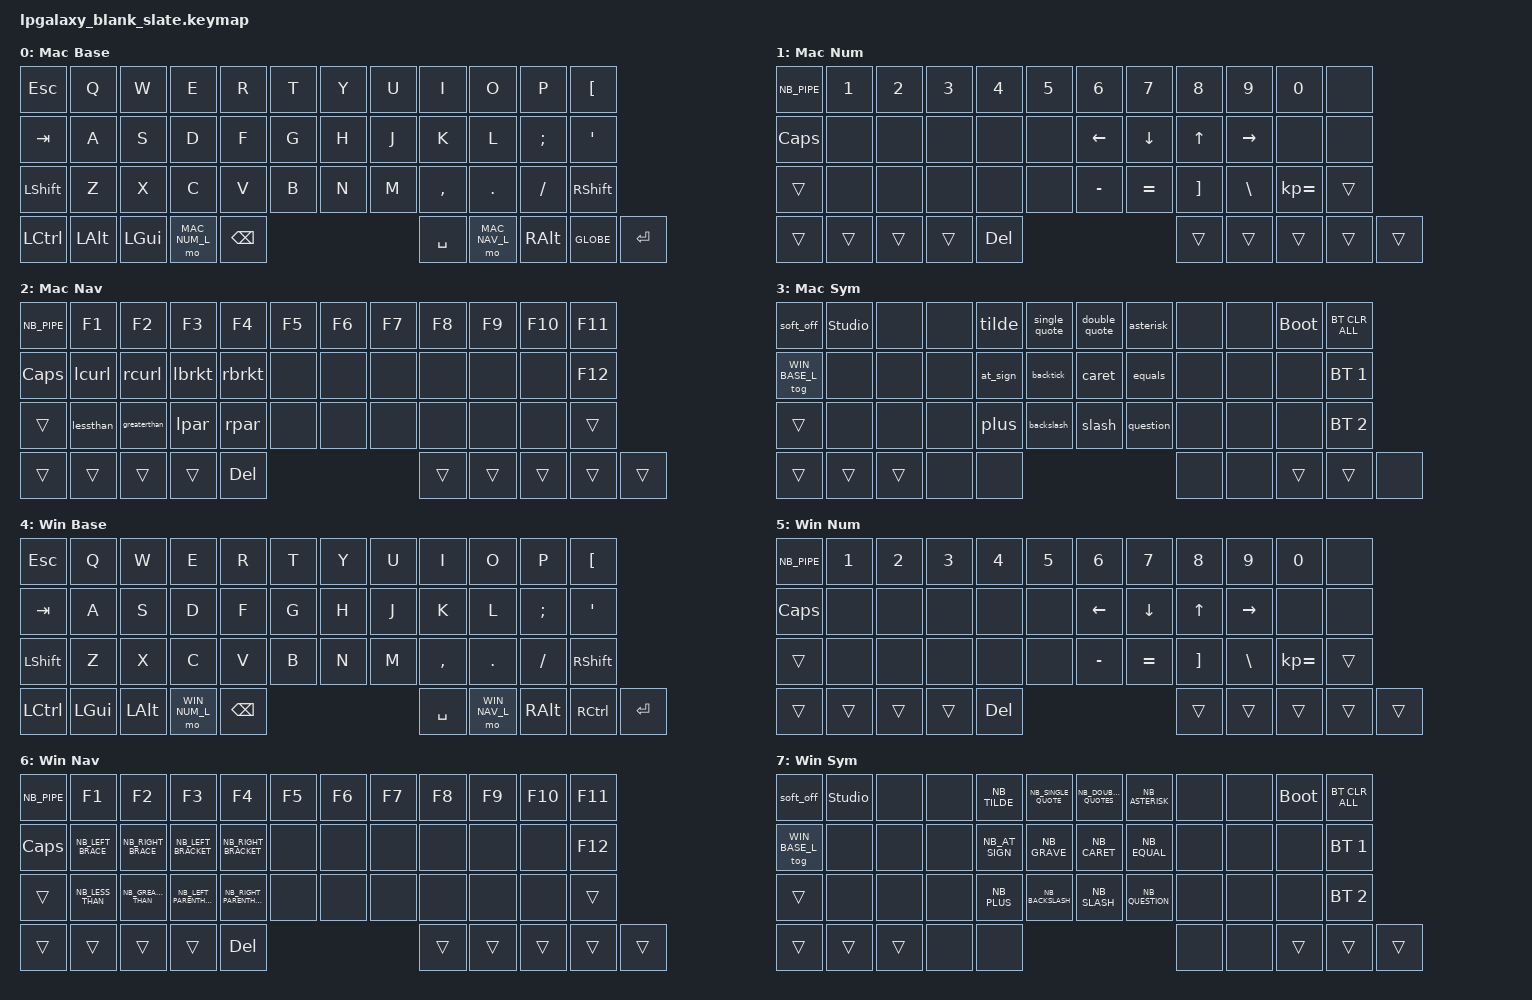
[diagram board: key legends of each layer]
/*
 * Copyright (c) 2022 Pete Johanson
 *
 * SPDX-License-Identifier: MIT
 */

#include <behaviors.dtsi>
#include <dt-bindings/zmk/keys.h>
#include <dt-bindings/zmk/bt.h>
#include <dt-bindings/zmk/outputs.h>
#include "keys_nb.h"

#define QWERTY_BASE 1

// #define TBLE_ORTHO   1
// #define TBLE_MIT     1
#define TBLE_DUAL_2U 1

#define MAC_BASE_L 0
#define MAC_NUM_L 1
#define MAC_NAV_L 2
#define MAC_SYM_L 3


#define WIN_BASE_L 4
#define WIN_NUM_L 5
#define WIN_NAV_L 6
#define WIN_SYM_L 7

// Using layer taps on thumbs, having quick tap as well helps w/ repeating space/backspace
// &lt { quick_tap_ms = <200>; };

#define BT(n) BT_SEL n

/ {
  chosen {
    zmk,physical-layout =
    #ifdef TBLE_DUAL_2U
      &layout_ortho_4x12_2x2u;
    #elif defined(TBLE_MIT)
      &layout_ortho_4x12_1x2u;
    #else
      &layout_ortho_4x12_all1u;
    #endif
  };

  macros {

    lbrkt: lbrkt {
      compatible = "zmk,behavior-macro";
      #binding-cells = <0>;
      bindings = <
        &macro_press &kp RALT
        &macro_tap &kp N8
        &macro_release &kp RALT
      >;
    };

    rbrkt: rbrkt {
      compatible = "zmk,behavior-macro";
      #binding-cells = <0>;
      bindings = <
        &macro_press &kp RALT
        &macro_tap &kp N9
        &macro_release &kp RALT
      >;
    };

    lessthan: lessthan {
      compatible = "zmk,behavior-macro";
      #binding-cells = <0>;
      bindings = <
        &kp GRAVE
      >;
    };

    greaterthan: greaterthan {
      compatible = "zmk,behavior-macro";
      #binding-cells = <0>;
      bindings = <
        &macro_press &kp LSHFT
        &macro_tap &kp GRAVE
        &macro_release &kp LSHFT
      >;
    };

    lcurl: lcurl {
      compatible = "zmk,behavior-macro";
      #binding-cells = <0>;
      bindings = <
        &macro_press &kp RALT
        &macro_press &kp LSHFT
        &macro_tap &kp N8
        &macro_release &kp LSHFT
        &macro_release &kp RALT
      >;
    };

    rcurl: rcurl {
      compatible = "zmk,behavior-macro";
      #binding-cells = <0>;
      bindings = <
        &macro_press &kp RALT
        &macro_press &kp LSHFT
        &macro_tap &kp N9
        &macro_release &kp LSHFT
        &macro_release &kp RALT
      >;
    };

    lpar: lpar {
      compatible = "zmk,behavior-macro";
      #binding-cells = <0>;
      bindings = <
        &macro_press &kp LSHFT
        &macro_tap &kp N8
        &macro_release &kp LSHFT
      >;
    };

    rpar: rpar {
      compatible = "zmk,behavior-macro";
      #binding-cells = <0>;
      bindings = <
        &macro_press &kp LSHFT
        &macro_tap &kp N9
        &macro_release &kp LSHFT
      >;
    };

    //TODO: remove
    pipe: pipe {
      compatible = "zmk,behavior-macro";
      #binding-cells = <0>;
      bindings = <
        &macro_press &kp RALT
        &macro_tap &kp N7
        &macro_release &kp RALT
      >;
    };

    single_quote: single_quote {
      compatible = "zmk,behavior-macro";
      #binding-cells = <0>;
      bindings = <
        &macro_press &kp RALT
        &macro_tap &kp BSLH
        &macro_release &kp RALT
      >;
    };

    plus: plus {
      compatible = "zmk,behavior-macro";
      #binding-cells = <0>;
      bindings = <
        &macro_tap &kp MINUS
      >;
    };

    at_sign: at_sign {
      compatible = "zmk,behavior-macro";
      #binding-cells = <0>;
      bindings = <
        &macro_tap &kp BSLH
      >;
    };

    asterisk: asterisk {
      compatible = "zmk,behavior-macro";
      #binding-cells = <0>;
      bindings = <
        &macro_press &kp LSHFT
        &macro_tap &kp BSLH
        &macro_release &kp LSHFT
      >;
    };

    double_quote: double_quote {
      compatible = "zmk,behavior-macro";
      #binding-cells = <0>;
      bindings = <
        &macro_tap &kp AT_SIGN
      >;
    };

    caret: caret {
      compatible = "zmk,behavior-macro";
      #binding-cells = <0>;
      bindings = <
        &macro_press &kp LSHFT
        &macro_tap &kp RBKT
        &macro_release &kp LSHFT
      >;
    };

    tilde: tilde {
      compatible = "zmk,behavior-macro";
      #binding-cells = <0>;
      bindings = <
        &macro_press &kp RALT
        &macro_tap &kp RBKT
        &macro_release &kp RALT
      >;
    };

    equals: equals {
      compatible = "zmk,behavior-macro";
      #binding-cells = <0>;
      bindings = <
        &macro_press &kp LSHFT
        &macro_tap &kp N0
        &macro_release &kp LSHFT
      >;
    };

    backtick: backtick {
      compatible = "zmk,behavior-macro";
      #binding-cells = <0>;
      bindings = <
        &macro_tap &kp PLUS
      >;
    };

    backslash: backslash {
      compatible = "zmk,behavior-macro";
      #binding-cells = <0>;
      bindings = <
        &macro_press &kp RALT
        &macro_press &kp LSHFT
        &macro_tap &kp N7
        &macro_release &kp LSHFT
        &macro_release &kp RALT
      >;
    };

    slash: slash {
      compatible = "zmk,behavior-macro";
      #binding-cells = <0>;
      bindings = <
        &macro_press &kp LSHFT
        &macro_tap &kp N7
        &macro_release &kp LSHFT
      >;
    };

    question: question {
      compatible = "zmk,behavior-macro";
      #binding-cells = <0>;
      bindings = <
        &macro_press &kp LSHFT
        &macro_tap &kp MINUS
        &macro_release &kp LSHFT
      >;
    };
  };

  tap_dances {
    shifty: shift_caps_word {
      compatible = "zmk,behavior-tap-dance";
      label = "TD_SHIFTY";
      #binding-cells = <0>;
      tapping-term-ms = <150>;
      bindings = <&kp LSHFT>, <&caps_word>;
	  };
  };

  // Conditional layer only when we have less thumb keys
  #ifdef TBLE_DUAL_2U
  conditional_layers {
    compatible = "zmk,conditional-layers";
	  mac_sym {
	    if-layers = <MAC_NUM_L MAC_NAV_L>;
	    then-layer = <MAC_SYM_L>;
    };
	  windows_sym {
	    if-layers = <WIN_NUM_L WIN_NAV_L>;
	    then-layer = <WIN_SYM_L>;
    };
  };
  #endif

  keymap { 
    compatible = "zmk,keymap";

    // Layer 0: Mac Base
    mac_base_layer {
      display-name = "Mac Base";
      bindings = <
        &kp ESC    &kp Q      &kp W      &kp E       &kp R          &kp T          &kp Y            &kp U          &kp I       &kp O      &kp P         &kp LEFT_BRACKET
        &kp TAB    &kp A      &kp S      &kp D       &kp F          &kp G          &kp H            &kp J          &kp K       &kp L      &kp SEMI      &kp QUOT
        &kp LSHFT  &kp Z      &kp X      &kp C       &kp V          &kp B          &kp N            &kp M          &kp COMMA   &kp DOT    &kp FSLH      &kp RSHFT
        &kp LCTRL  &kp LALT   &kp LGUI   &mo MAC_NUM_L         &kp BKSP                        &kp SPACE                &mo MAC_NAV_L   &kp RALT   &kp GLOBE      &kp RET
      >;
    };

    // Layer 1: Mac Numbers
    mac_num_layer {
      display-name = "Mac Num";
      bindings = <
        &kp NB_PIPE &kp N1 &kp N2 &kp N3 &kp N4 &kp N5 &kp N6 &kp N7 &kp N8 &kp N9 &kp N0 &none
        &kp CAPS  &none  &none  &none  &none  &none &kp LEFT &kp DOWN &kp UP &kp RIGHT &none &none
        &trans &none  &none  &none  &none  &none &kp MINUS &kp EQUAL &kp RBKT &kp BSLH &kp KP_EQUAL &trans
        &trans &trans &trans &trans &kp DEL &trans &trans &trans &trans &trans  
      >;
    };

    // Layer 2: Mac Navigation
    mac_nav_layer {
      display-name = "Mac Nav";
      bindings = <
        &kp NB_PIPE &kp F1 &kp F2 &kp F3 &kp F4 &kp F5 &kp F6 &kp F7 &kp F8 &kp F9 &kp F10 &kp F11
        &kp CAPS  &lcurl &rcurl &lbrkt &rbrkt &none &none &none &none &none &none &kp F12
        &trans &lessthan &greaterthan &lpar &rpar &none &none &none &none &none &none &trans
        &trans &trans &trans &trans &kp DEL &trans &trans &trans &trans &trans  
      >;
    };

    // Layer 3: Mac Symbols
    mac_sym_layer {
      display-name = "Mac Sym";
      bindings = <
        &soft_off &studio_unlock &none &none &tilde &single_quote &double_quote &asterisk &none &none &bootloader &bt BT_CLR_ALL
        &tog WIN_BASE_L &none &none &none &at_sign &backtick &caret &equals &none &none &none &bt BT_SEL 1 
        &trans &none &none &none &plus &backslash &slash &question &none &none &none &bt BT_SEL 2
        &trans &trans &trans &none &none &none &none &trans &trans &none
      >;
    };





    // Layer 4: Win Base
    win_base_layer {
      display-name = "Win Base";
      bindings = <
        &kp ESC    &kp Q      &kp W      &kp E       &kp R          &kp T          &kp Y            &kp U          &kp I       &kp O      &kp P         &kp LEFT_BRACKET
        &kp TAB    &kp A      &kp S      &kp D       &kp F          &kp G          &kp H            &kp J          &kp K       &kp L      &kp SEMI      &kp QUOT
        &kp LSHFT  &kp Z      &kp X      &kp C       &kp V          &kp B          &kp N            &kp M          &kp COMMA   &kp DOT    &kp FSLH      &kp RSHFT
        &kp LCTRL  &kp LGUI   &kp LALT   &mo WIN_NUM_L         &kp BKSP                        &kp SPACE                &mo WIN_NAV_L   &kp RALT   &kp RCTRL      &kp RET
      >;
    };

    // Layer 5: Win Numbers
    win_num_layer {
      display-name = "Win Num";
      bindings = <
        &kp NB_PIPE &kp N1 &kp N2 &kp N3 &kp N4 &kp N5 &kp N6 &kp N7 &kp N8 &kp N9 &kp N0 &none
        &kp CAPS  &none  &none  &none  &none  &none &kp LEFT &kp DOWN &kp UP &kp RIGHT &none &none
        &trans &none  &none  &none  &none  &none &kp MINUS &kp EQUAL &kp RBKT &kp BSLH &kp KP_EQUAL &trans
        &trans &trans &trans &trans &kp DEL &trans &trans &trans &trans &trans  
      >;
    };

    // Layer 6: Win Navigation
    win_nav_layer {
      display-name = "Win Nav";
      bindings = <
        &kp NB_PIPE &kp F1 &kp F2 &kp F3 &kp F4 &kp F5 &kp F6 &kp F7 &kp F8 &kp F9 &kp F10 &kp F11
        &kp CAPS  &kp NB_LEFT_BRACE &kp NB_RIGHT_BRACE &kp NB_LEFT_BRACKET &kp NB_RIGHT_BRACKET &none &none &none &none &none &none &kp F12
        &trans &kp NB_LESS_THAN &kp NB_GREATER_THAN &kp NB_LEFT_PARENTHESIS &kp NB_RIGHT_PARENTHESIS &none &none &none &none &none &none &trans
        &trans &trans &trans &trans &kp DEL &trans &trans &trans &trans &trans  
      >;
    };

    // Layer 7: Win Symbols
    win_sym_layer {
      display-name = "Win Sym";
      bindings = <
        &soft_off &studio_unlock &none &none &kp NB_TILDE &kp NB_SINGLE_QUOTE &kp NB_DOUBLE_QUOTES &kp NB_ASTERISK &none &none &bootloader &bt BT_CLR_ALL
        &tog WIN_BASE_L &none &none &none &kp NB_AT_SIGN &kp NB_GRAVE &kp NB_CARET &kp NB_EQUAL &none &none &none &bt BT_SEL 1 
        &trans &none &none &none &kp NB_PLUS &kp NB_BACKSLASH &kp NB_SLASH &kp NB_QUESTION &none &none &none &bt BT_SEL 2 
        &trans &trans &trans &none &none &none &none &trans &trans &trans 
      >;
    };


  };
};

